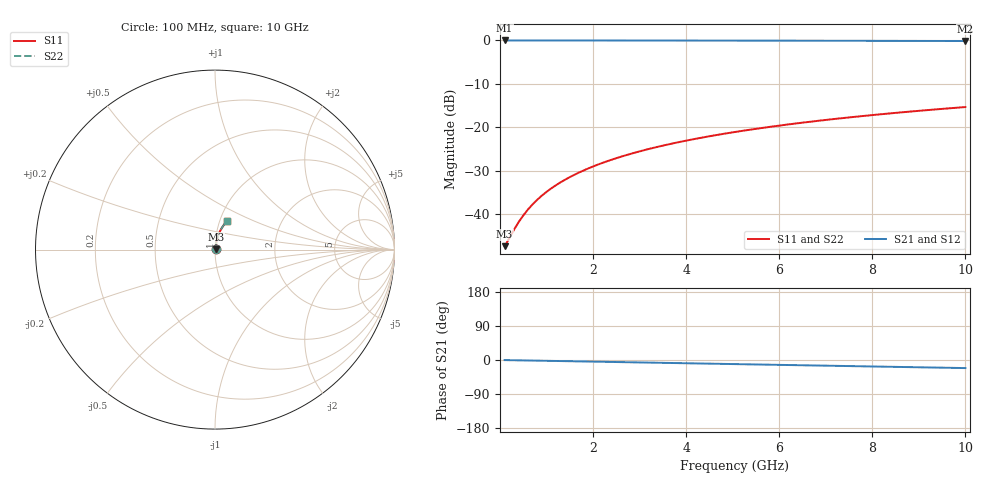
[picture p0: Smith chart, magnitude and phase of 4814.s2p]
# Hz S RI R 50.00
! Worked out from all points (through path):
!   100 points, 100 MHz to 10 GHz, reference 50 ohm
!   highest |S21| = -0.03 dB at 100 MHz (marker M1); lowest = -0.2 dB at 10 GHz (marker M2)
!   group delay of S21, straight-line fit = 5.93 ps
!   lowest |S11| = -47.4 dB at 100 MHz (marker M3), VSWR 1.01, Z = 50.4 + j0.175 ohm
!   |S11| at or under -10 dB: start of sweep to end of sweep
!   |S22| runs from -47.4 to -15.4 dB; largest |S21 - S12| = 0
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1e8  0.0039 0.00174  0.9961 -0.00373  0.9961 -0.00373  0.0039 0.00174
2e8  0.00394 0.00348  0.996 -0.00745  0.996 -0.00745  0.00394 0.00348
3e8  0.00399 0.00522  0.996 -0.0112  0.996 -0.0112  0.00399 0.00522
4e8  0.00406 0.00696  0.9959 -0.0149  0.9959 -0.0149  0.00406 0.00696
5e8  0.00413 0.0087  0.9958 -0.0186  0.9958 -0.0186  0.00413 0.0087
6e8  0.00421 0.0104  0.9957 -0.0224  0.9957 -0.0224  0.00421 0.0104
7e8  0.0043 0.0122  0.9956 -0.0261  0.9956 -0.0261  0.0043 0.0122
8e8  0.00441 0.0139  0.9954 -0.0298  0.9954 -0.0298  0.00441 0.0139
1e9  0.00466 0.0174  0.9951 -0.0373  0.9951 -0.0373  0.00466 0.0174
1.2e9  0.00496 0.0209  0.9947 -0.0447  0.9947 -0.0447  0.00496 0.0209
1.5e9  0.00551 0.026  0.994 -0.0559  0.994 -0.0559  0.00551 0.026
1.8e9  0.00617 0.0312  0.9932 -0.067  0.9932 -0.067  0.00617 0.0312
2.1e9  0.00694 0.0364  0.9921 -0.0781  0.9921 -0.0781  0.00694 0.0364
2.5e9  0.00815 0.0432  0.9906 -0.0929  0.9906 -0.0929  0.00815 0.0432
2.9e9  0.00956 0.05  0.9887 -0.1077  0.9887 -0.1077  0.00956 0.05
3.4e9  0.0116 0.0585  0.986 -0.1261  0.986 -0.1261  0.0116 0.0585
4.2e9  0.0155 0.0718  0.9809 -0.1553  0.9809 -0.1553  0.0155 0.0718
5.1e9  0.0209 0.0864  0.9738 -0.1879  0.9738 -0.1879  0.0209 0.0864
5.9e9  0.0264 0.0991  0.9665 -0.2166  0.9665 -0.2166  0.0264 0.0991
6.7e9  0.0327 0.1114  0.9582 -0.2448  0.9582 -0.2448  0.0327 0.1114
8.4e9  0.0484 0.1361  0.9373 -0.3035  0.9373 -0.3035  0.0484 0.1361
1e10  0.0658 0.1573  0.9139 -0.3567  0.9139 -0.3567  0.0658 0.1573
